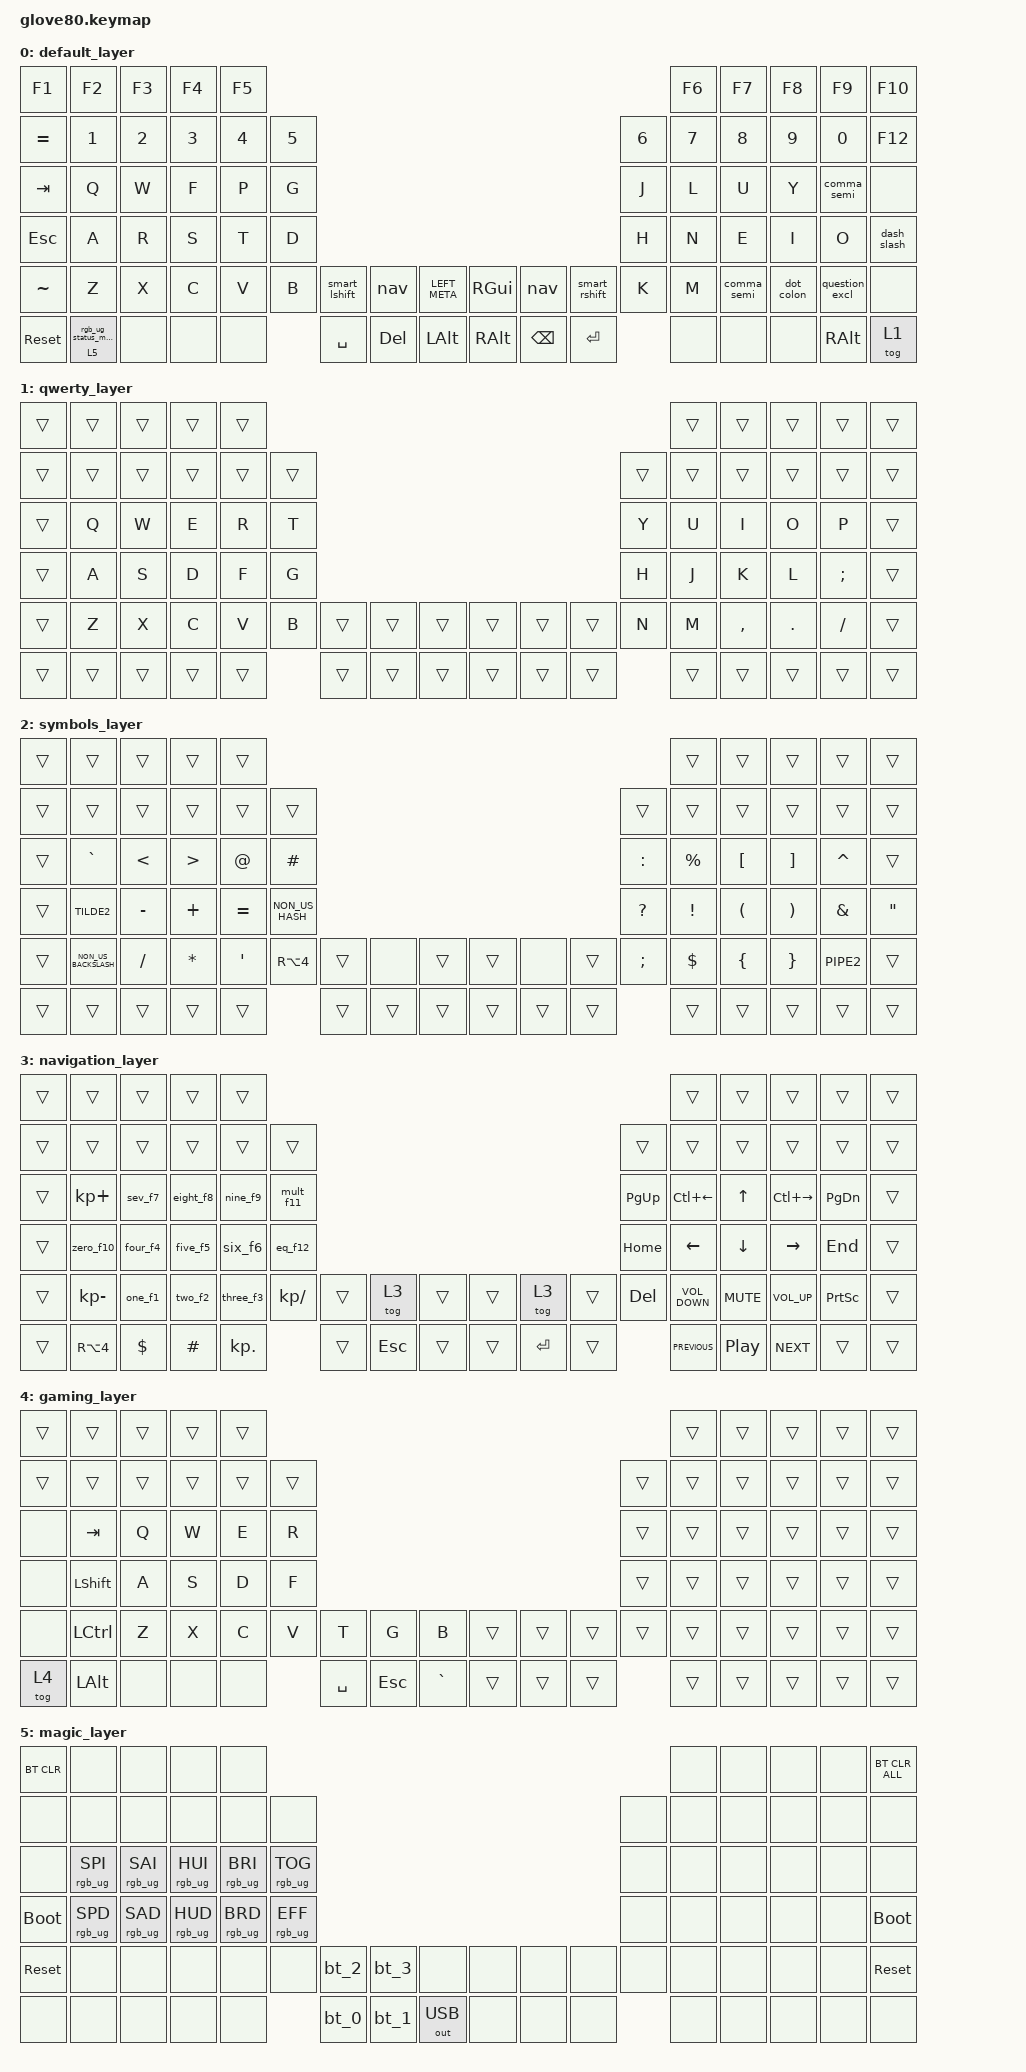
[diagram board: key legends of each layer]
/*
 * Copyright (c) 2020 The ZMK Contributors
 * Copyright (c) 2023 Matt Sturgeon
 *
 * SPDX-License-Identifier: MIT
 */

#include <behaviors.dtsi>
#include <dt-bindings/zmk/bt.h>
#include <dt-bindings/zmk/keys.h>
#include <dt-bindings/zmk/outputs.h>
#include <dt-bindings/zmk/rgb.h>

/ {
    behaviors {
        symbols: symbols {
            compatible = "zmk,behavior-tap-dance";
            label = "SYMBOLS";
            #binding-cells = <0>;
            bindings = <&mo 2>, <&to 2>;
        };

        nav: nav {
            compatible = "zmk,behavior-tap-dance";
            label = "NAV";
            #binding-cells = <0>;
            bindings = <&mo 3>, <&to 3>;
        };

        smart_lshift: smart_lshift {
            compatible = "zmk,behavior-tap-dance";
            label = "SMART_LSHIFT";
            #binding-cells = <0>;
            bindings = <&kp LSHFT>, <&caps_word>;
        };

        smart_rshift: smart_rshift {
            compatible = "zmk,behavior-tap-dance";
            label = "SMART_RSHIFT";
            #binding-cells = <0>;
            bindings = <&kp RSHFT>, <&caps_word>;
        };

        quotes: quotes {
            compatible = "zmk,behavior-mod-morph";
            label = "QUOTES";
            bindings = <&kp SINGLE_QUOTE>, <&kp AT>;

            #binding-cells = <0>;
            mods = <(MOD_LSFT|MOD_RSFT)>;
        };

        question_excl: question_excl {
            compatible = "zmk,behavior-mod-morph";
            label = "QUESTION_EXCL";
            bindings = <&kp QUESTION>, <&kp EXCL>;

            #binding-cells = <0>;
            mods = <(MOD_LSFT|MOD_RSFT)>;
        };

        dash_slash: dash_slash {
            compatible = "zmk,behavior-mod-morph";
            label = "DASH_SLASH";
            bindings = <&kp MINUS>, <&kp SLASH>;

            #binding-cells = <0>;
            mods = <(MOD_LSFT|MOD_RSFT)>;
        };

        dot_colon: dot_colon {
            compatible = "zmk,behavior-mod-morph";
            label = "DOT_COLON";
            bindings = <&kp DOT>, <&kp COLON>;

            #binding-cells = <0>;
            mods = <(MOD_LSFT|MOD_RSFT)>;
        };

        comma_semi: comma_semi {
            compatible = "zmk,behavior-mod-morph";
            label = "COMMA_SEMI";
            bindings = <&kp COMMA>, <&kp SEMI>;

            #binding-cells = <0>;
            mods = <(MOD_LSFT|MOD_RSFT)>;
        };

        under_backsl: under_backsl {
            compatible = "zmk,behavior-mod-morph";
            label = "UNDER_BACKSL";
            bindings = <&kp UNDERSCORE>, <&kp NON_US_BACKSLASH>;

            #binding-cells = <0>;
            mods = <(MOD_RSFT|MOD_LSFT)>;
        };

        zero_f10: zero_f10 {
            compatible = "zmk,behavior-mod-morph";
            label = "ZERO_F10";
            bindings = <&kp N0>, <&kp F10>;

            #binding-cells = <0>;
            mods = <(MOD_RSFT|MOD_LSFT)>;
        };

        one_f1: one_f1 {
            compatible = "zmk,behavior-mod-morph";
            label = "ONE_F1";
            bindings = <&kp N1>, <&kp F1>;

            #binding-cells = <0>;
            mods = <(MOD_RSFT|MOD_LSFT)>;
        };

        two_f2: two_f2 {
            compatible = "zmk,behavior-mod-morph";
            label = "TWO_F2";
            bindings = <&kp N2>, <&kp F2>;

            #binding-cells = <0>;
            mods = <(MOD_LSFT|MOD_RSFT)>;
        };

        three_f3: three_f3 {
            compatible = "zmk,behavior-mod-morph";
            label = "THREE_F3";
            bindings = <&kp N3>, <&kp F3>;

            #binding-cells = <0>;
            mods = <(MOD_LSFT|MOD_RSFT)>;
        };

        four_f4: four_f4 {
            compatible = "zmk,behavior-mod-morph";
            label = "FOUR_F4";
            bindings = <&kp N4>, <&kp F4>;

            #binding-cells = <0>;
            mods = <(MOD_LSFT|MOD_RSFT)>;
        };

        five_f5: five_f5 {
            compatible = "zmk,behavior-mod-morph";
            label = "FIVE_F5";
            bindings = <&kp N5>, <&kp F5>;

            #binding-cells = <0>;
            mods = <(MOD_LSFT|MOD_RSFT)>;
        };

        six_f6: six_f6 {
            compatible = "zmk,behavior-mod-morph";
            label = "SIX_F6";
            bindings = <&kp N6>, <&kp F6>;

            #binding-cells = <0>;
            mods = <(MOD_LSFT|MOD_RSFT)>;
        };

        sev_f7: sev_f7 {
            compatible = "zmk,behavior-mod-morph";
            label = "SEV_F7";
            bindings = <&kp N7>, <&kp F7>;

            #binding-cells = <0>;
            mods = <(MOD_LSFT|MOD_RSFT)>;
        };

        eight_f8: eight_f8 {
            compatible = "zmk,behavior-mod-morph";
            label = "EIGHT_F8";
            bindings = <&kp N8>, <&kp F8>;

            #binding-cells = <0>;
            mods = <(MOD_LSFT|MOD_RSFT)>;
        };

        nine_f9: nine_f9 {
            compatible = "zmk,behavior-mod-morph";
            label = "NINE_F9";
            bindings = <&kp N9>, <&kp F9>;

            #binding-cells = <0>;
            mods = <(MOD_LSFT|MOD_RSFT)>;
        };

        mult_f11: mult_f11 {
            compatible = "zmk,behavior-mod-morph";
            label = "MULT_F11";
            bindings = <&kp KP_MULTIPLY>, <&kp F11>;

            #binding-cells = <0>;
            mods = <(MOD_LSFT|MOD_RSFT)>;
        };

        eq_f12: eq_f12 {
            compatible = "zmk,behavior-mod-morph";
            label = "EQ_F12";
            bindings = <&kp KP_EQUAL>, <&kp F12>;

            #binding-cells = <0>;
            mods = <(MOD_LSFT|MOD_RSFT)>;
        };

        magic: magic_hold_tap {
            compatible = "zmk,behavior-hold-tap";
            label = "MAGIC_HOLD_TAP";
            #binding-cells = <2>;
            flavor = "tap-preferred";
            tapping-term-ms = <200>;
            bindings = <&mo>, <&rgb_ug_status_macro>;
        };
    };
};

/ {
    macros {
        rgb_ug_status_macro: rgb_ug_status_macro_0 {
            label = "RGB_UG_STATUS";
            compatible = "zmk,behavior-macro";
            #binding-cells = <0>;
            bindings = <&rgb_ug RGB_STATUS>;
        };

        bt_0: bt_profile_macro_0 {
            label = "BT_0";
            compatible = "zmk,behavior-macro";
            #binding-cells = <0>;
            bindings = <&out OUT_BLE &bt BT_SEL 0>;
        };

        bt_1: bt_profile_macro_1 {
            label = "BT_1";
            compatible = "zmk,behavior-macro";
            #binding-cells = <0>;
            bindings = <&out OUT_BLE &bt BT_SEL 1>;
        };

        bt_2: bt_profile_macro_2 {
            label = "BT_2";
            compatible = "zmk,behavior-macro";
            #binding-cells = <0>;
            bindings = <&out OUT_BLE &bt BT_SEL 2>;
        };

        bt_3: bt_profile_macro_3 {
            label = "BT_3";
            compatible = "zmk,behavior-macro";
            #binding-cells = <0>;
            bindings = <&out OUT_BLE &bt BT_SEL 3>;
        };
    };
};

/ {
    combos {
        compatible = "zmk,combos";

        dbl_shift {
            bindings = <&caps_word>;
            key-positions = <52 57>;
            layers = <0>;
        };
    };

    keymap {
        compatible = "zmk,keymap";

        default_layer {
            bindings = <
&kp F1      &kp F2      &kp F3  &kp F4  &kp F5                                                                                                         &kp F6  &kp F7       &kp F8      &kp F9          &kp F10
&kp EQUAL   &kp N1      &kp N2  &kp N3  &kp N4  &kp N5                                                                                         &kp N6  &kp N7  &kp N8       &kp N9      &kp N0          &kp F12
&kp TAB     &kp Q       &kp W   &kp F   &kp P   &kp G                                                                                          &kp J   &kp L   &kp U        &kp Y       &comma_semi     &none
&kp ESCAPE  &kp A       &kp R   &kp S   &kp T   &kp D                                                                                          &kp H   &kp N   &kp E        &kp I       &kp O           &dash_slash
&kp TILDE   &kp Z       &kp X   &kp C   &kp V   &kp B   &smart_lshift  &nav        &kp LEFT_META  &kp RIGHT_GUI  &nav           &smart_rshift  &kp K   &kp M   &comma_semi  &dot_colon  &question_excl  &none
&sys_reset  &magic 5 0  &none   &none   &none           &kp SPACE      &kp DELETE  &kp LEFT_ALT   &kp RIGHT_ALT  &kp BACKSPACE  &kp ENTER              &none   &none        &none       &kp RALT        &tog 1
            >;
        };

        qwerty_layer {
            bindings = <
&trans  &trans  &trans  &trans  &trans                                                                  &trans  &trans     &trans      &trans         &trans
&trans  &trans  &trans  &trans  &trans  &trans                                                  &trans  &trans  &trans     &trans      &trans         &trans
&trans  &kp Q   &kp W   &kp E   &kp R   &kp T                                                   &kp Y   &kp U   &kp I      &kp O       &kp P          &trans
&trans  &kp A   &kp S   &kp D   &kp F   &kp G                                                   &kp H   &kp J   &kp K      &kp L       &kp SEMICOLON  &trans
&trans  &kp Z   &kp X   &kp C   &kp V   &kp B   &trans  &trans  &trans  &trans  &trans  &trans  &kp N   &kp M   &kp COMMA  &kp PERIOD  &kp SLASH      &trans
&trans  &trans  &trans  &trans  &trans          &trans  &trans  &trans  &trans  &trans  &trans          &trans  &trans     &trans      &trans         &trans
            >;
        };

        symbols_layer {
            bindings = <
&trans  &trans                &trans     &trans        &trans                                                                                          &trans     &trans    &trans    &trans     &trans
&trans  &trans                &trans     &trans        &trans          &trans                                                           &trans         &trans     &trans    &trans    &trans     &trans
&trans  &kp GRAVE             &kp LT     &kp GT        &kp AT          &kp POUND                                                        &kp COLON      &kp PRCNT  &kp LBKT  &kp RBKT  &kp CARET  &trans
&trans  &kp TILDE2            &kp MINUS  &kp PLUS      &kp EQUAL       &kp NON_US_HASH                                                  &kp QMARK      &kp EXCL   &kp LPAR  &kp RPAR  &kp AMPS   &kp DOUBLE_QUOTES
&trans  &kp NON_US_BACKSLASH  &kp SLASH  &kp ASTERISK  &kp APOSTROPHE  &kp RA(N4)       &trans  &none   &trans  &trans  &none   &trans  &kp SEMICOLON  &kp DLLR   &kp LBRC  &kp RBRC  &kp PIPE2  &trans
&trans  &trans                &trans     &trans        &trans                           &trans  &trans  &trans  &trans  &trans  &trans                 &trans     &trans    &trans    &trans     &trans
            >;
        };

        navigation_layer {
            bindings = <
&trans  &trans        &trans      &trans     &trans                                                                                        &trans             &trans            &trans           &trans           &trans
&trans  &trans        &trans      &trans     &trans      &trans                                                                &trans      &trans             &trans            &trans           &trans           &trans
&trans  &kp KP_PLUS   &sev_f7     &eight_f8  &nine_f9    &mult_f11                                                             &kp PG_UP   &kp LC(LEFT)       &kp UP_ARROW      &kp LC(RIGHT)    &kp PG_DN        &trans
&trans  &zero_f10     &four_f4    &five_f5   &six_f6     &eq_f12                                                               &kp HOME    &kp LEFT_ARROW     &kp DOWN_ARROW    &kp RIGHT_ARROW  &kp END          &trans
&trans  &kp KP_MINUS  &one_f1     &two_f2    &three_f3   &kp KP_SLASH  &trans  &tog 3      &trans  &trans  &tog 3      &trans  &kp DELETE  &kp C_VOLUME_DOWN  &kp C_MUTE        &kp C_VOLUME_UP  &kp PRINTSCREEN  &trans
&trans  &kp RA(N4)    &kp DOLLAR  &kp POUND  &kp KP_DOT                &trans  &kp ESCAPE  &trans  &trans  &kp RETURN  &trans              &kp C_PREVIOUS     &kp C_PLAY_PAUSE  &kp C_NEXT       &trans           &trans
            >;
        };

        gaming_layer {
            bindings = <
&trans  &trans     &trans  &trans  &trans                                                                         &trans  &trans  &trans  &trans  &trans
&trans  &trans     &trans  &trans  &trans  &trans                                                         &trans  &trans  &trans  &trans  &trans  &trans
&none   &kp TAB    &kp Q   &kp W   &kp E   &kp R                                                          &trans  &trans  &trans  &trans  &trans  &trans
&none   &kp LSHFT  &kp A   &kp S   &kp D   &kp F                                                          &trans  &trans  &trans  &trans  &trans  &trans
&none   &kp LCTRL  &kp Z   &kp X   &kp C   &kp V   &kp T      &kp G    &kp B      &trans  &trans  &trans  &trans  &trans  &trans  &trans  &trans  &trans
&tog 4  &kp LALT   &none   &none   &none           &kp SPACE  &kp ESC  &kp GRAVE  &trans  &trans  &trans          &trans  &trans  &trans  &trans  &trans
            >;
        };

        magic_layer {
            bindings = <
&bt BT_CLR   &none            &none            &none            &none                                                                                     &none  &none  &none  &none  &bt BT_CLR_ALL
&none        &none            &none            &none            &none            &none                                                             &none  &none  &none  &none  &none  &none
&none        &rgb_ug RGB_SPI  &rgb_ug RGB_SAI  &rgb_ug RGB_HUI  &rgb_ug RGB_BRI  &rgb_ug RGB_TOG                                                   &none  &none  &none  &none  &none  &none
&bootloader  &rgb_ug RGB_SPD  &rgb_ug RGB_SAD  &rgb_ug RGB_HUD  &rgb_ug RGB_BRD  &rgb_ug RGB_EFF                                                   &none  &none  &none  &none  &none  &bootloader
&sys_reset   &none            &none            &none            &none            &none            &bt_2  &bt_3  &none         &none  &none  &none  &none  &none  &none  &none  &none  &sys_reset
&none        &none            &none            &none            &none                             &bt_0  &bt_1  &out OUT_USB  &none  &none  &none         &none  &none  &none  &none  &none
            >;
        };
    };
};

&caps_word { continue-list = <UNDERSCORE BACKSPACE DELETE MINUS KP_MINUS>; };
